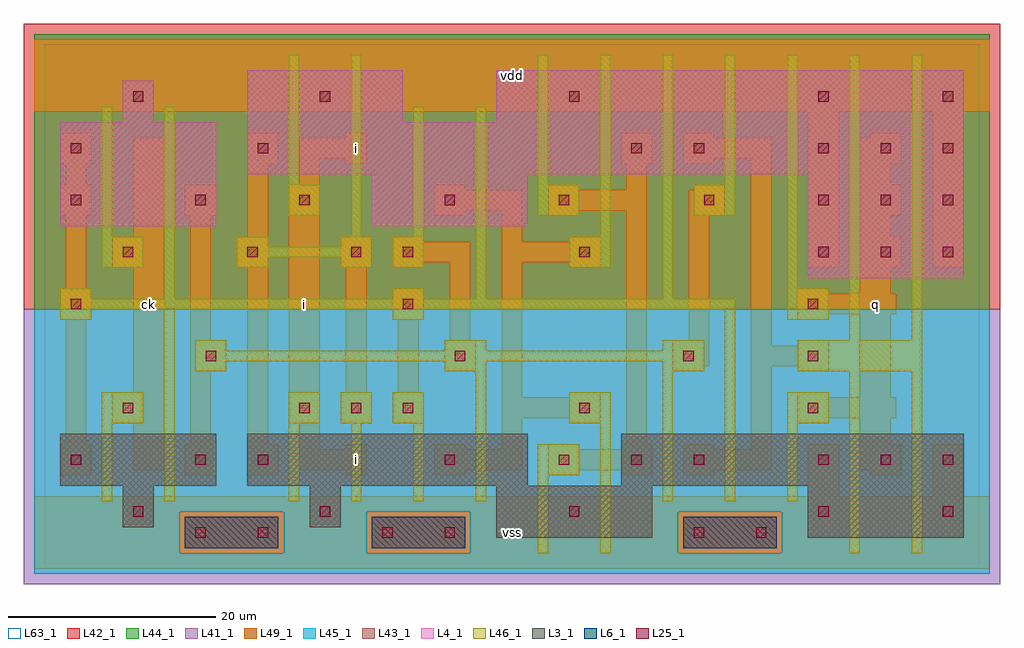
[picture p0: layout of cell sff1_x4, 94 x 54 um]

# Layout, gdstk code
import gdstk
lib = gdstk.Library(unit=1e-6, precision=1e-09)
def R(c, l, rs):  # rectangles x0, y0, x1, y1
    for r in rs: c.add(gdstk.rectangle(r[:2], r[2:], *l))
def A(c, l, x, y, w, h, nx, ny, dx, dy):  # array of equal rectangles
    R(c, l, [(x+i*dx, y+j*dy, x+i*dx+w, y+j*dy+h) for i in range(nx) for j in range(ny)])
L3_1 = (3, 1)
L4_1 = (4, 1)
L6_1 = (6, 1)
L25_1 = (25, 1)
L41_1 = (41, 1)
L42_1 = (42, 1)
L43_1 = (43, 1)
L44_1 = (44, 1)
L45_1 = (45, 1)
L46_1 = (46, 1)
L49_1 = (49, 1)
L63_1 = (63, 1)

sff1_x4 = lib.new_cell('sff1_x4')
R(sff1_x4, L3_1, [(43.5,2.5,58.5,7.5), (73.5,2.5,88.5,7.5), (7.5,3.5,10.5,7.5), (25.5,3.5,28.5,7.5), (1.5,7.5,16.5,12.5), (19.5,7.5,46.5,12.5), (55.5,7.5,88.5,12.5)])
R(sff1_x4, L4_1, [(73.5,27.5,88.5,37.5), (1.5,32.5,16.5,42.5), (31.5,32.5,46.5,37.5), (19.5,37.5,88.5,42.5), (7.5,42.5,10.5,46.5), (19.5,42.5,34.5,47.5), (43.5,42.5,88.5,47.5)])
R(sff1_x4, L6_1, [(13.5,1.5,22.5,4.5), (31.5,1.5,40.5,4.5), (61.5,1.5,70.5,4.5)])
A(sff1_x4, L25_1, 26.5, 4.5, 1, 1, 3, 2, 24, 40)
A(sff1_x4, L25_1, 74.5, 9.5, 1, 1, 3, 2, 6, 20)
A(sff1_x4, L25_1, 24.5, 14.5, 1, 1, 3, 1, 5, 0)
A(sff1_x4, L25_1, 73.5, 14.5, 1, 1, 1, 3, 0, 5)
A(sff1_x4, L25_1, 74.5, 34.5, 1, 1, 3, 2, 6, 5)
R(sff1_x4, L25_1, [(14.5,2.5,15.5,3.5), (20.5,2.5,21.5,3.5), (32.5,2.5,33.5,3.5), (38.5,2.5,39.5,3.5), (62.5,2.5,63.5,3.5), (68.5,2.5,69.5,3.5), (8.5,4.5,9.5,5.5), (86.5,4.5,87.5,5.5), (2.5,9.5,3.5,10.5), (14.5,9.5,15.5,10.5), (20.5,9.5,21.5,10.5), (38.5,9.5,39.5,10.5), (49.5,9.5,50.5,10.5), (56.5,9.5,57.5,10.5), (62.5,9.5,63.5,10.5), (7.5,14.5,8.5,15.5), (51.5,14.5,52.5,15.5), (15.5,19.5,16.5,20.5), (39.5,19.5,40.5,20.5), (61.5,19.5,62.5,20.5), (2.5,24.5,3.5,25.5), (34.5,24.5,35.5,25.5), (7.5,29.5,8.5,30.5), (19.5,29.5,20.5,30.5), (29.5,29.5,30.5,30.5), (34.5,29.5,35.5,30.5), (51.5,29.5,52.5,30.5), (2.5,34.5,3.5,35.5), (14.5,34.5,15.5,35.5), (24.5,34.5,25.5,35.5), (38.5,34.5,39.5,35.5), (49.5,34.5,50.5,35.5), (63.5,34.5,64.5,35.5), (2.5,39.5,3.5,40.5), (20.5,39.5,21.5,40.5), (56.5,39.5,57.5,40.5), (62.5,39.5,63.5,40.5), (8.5,44.5,9.5,45.5), (86.5,44.5,87.5,45.5)])
R(sff1_x4, L41_1, [(-2,-2,92,24.5)])
R(sff1_x4, L42_1, [(-2,24.5,92,52)])
R(sff1_x4, L43_1, [(13.5,1.5,22.5,4.5), (31.5,1.5,40.5,4.5), (61.5,1.5,70.5,4.5), (43.5,2.5,58.5,7.5), (73.5,2.5,88.5,7.5), (7.5,3.5,10.5,7.5), (25.5,3.5,28.5,7.5), (1.5,7.5,16.5,12.5), (19.5,7.5,46.5,12.5), (55.5,7.5,88.5,12.5), (73.5,27.5,88.5,37.5), (1.5,32.5,16.5,42.5), (31.5,32.5,46.5,37.5), (19.5,37.5,88.5,42.5), (7.5,42.5,10.5,46.5), (19.5,42.5,34.5,47.5), (43.5,42.5,88.5,47.5)])
R(sff1_x4, L44_1, [(13,1,23,5), (31,1,41,5), (61,1,71,5), (-1,24.5,91,51)])
R(sff1_x4, L45_1, [(-1,-1,91,1), (-1,1,13,5), (23,1,31,5), (41,1,61,5), (71,1,91,5), (-1,5,91,24.5)])
A(sff1_x4, L46_1, 23.5, 6, 1, 7.5, 3, 1, 6, 0)
A(sff1_x4, L46_1, 23.5, 13.5, 3, 3, 3, 1, 5, 0)
R(sff1_x4, L46_1, [(47.5,1,48.5,8.5), (53.5,1,54.5,13.5), (77.5,1,78.5,18.5), (83.5,1,84.5,18.5), (5.5,6,6.5,13.5), (11.5,6,12.5,24.5), (41.5,6,42.5,18.5), (59.5,6,60.5,18.5), (65.5,6,66.5,24.5), (71.5,6,72.5,13.5), (47.5,8.5,51.5,11.5), (5.5,13.5,9.5,16.5), (50.5,13.5,54.5,16.5), (71.5,13.5,75.5,16.5), (14.5,18.5,17.5,19.5), (38.5,18.5,42.5,19.5), (59.5,18.5,63.5,19.5), (72.5,18.5,84.5,21.5), (14.5,19.5,63.5,20.5), (14.5,20.5,17.5,21.5), (38.5,20.5,42.5,21.5), (59.5,20.5,63.5,21.5), (77.5,21.5,78.5,49), (83.5,21.5,84.5,49), (1.5,23.5,4.5,24.5), (33.5,23.5,36.5,24.5), (71.5,23.5,75.5,26.5), (1.5,24.5,66.5,25.5), (1.5,25.5,4.5,26.5), (11.5,25.5,12.5,44), (33.5,25.5,36.5,26.5), (41.5,25.5,42.5,44), (59.5,25.5,60.5,49), (71.5,26.5,72.5,49), (5.5,28.5,9.5,31.5), (18.5,28.5,21.5,29.5), (28.5,28.5,31.5,29.5), (33.5,28.5,36.5,31.5), (50.5,28.5,54.5,31.5), (18.5,29.5,31.5,30.5), (18.5,30.5,21.5,31.5), (28.5,30.5,31.5,31.5), (5.5,31.5,6.5,44), (29.5,31.5,30.5,49), (35.5,31.5,36.5,44), (53.5,31.5,54.5,49), (23.5,33.5,26.5,36.5), (47.5,33.5,51.5,36.5), (62.5,33.5,66.5,36.5), (23.5,36.5,24.5,49), (47.5,36.5,48.5,49), (65.5,36.5,66.5,49)])
A(sff1_x4, L49_1, 72.5, 13.5, 3, 0.5, 1, 6, 0, 2.5)
R(sff1_x4, L49_1, [(-1,-0.5,91,6.5), (73.5,6.5,76.5,11.5), (85.5,6.5,88.5,11.5), (1.5,8.5,4.5,11.5), (13.5,8.5,16.5,11.5), (19.5,8.5,22.5,11.5), (29,8.5,31,9), (37.5,8.5,40.5,9), (48.5,8.5,51.5,9), (55.5,8.5,58.5,9), (61.5,8.5,64.5,9), (79.5,8.5,82.5,9), (8.5,9,11.5,13.5), (24.5,9,31,11), (37.5,9,46,11), (48.5,9,58.5,11), (61.5,9,70,11), (78.5,9,82.5,11.5), (24.5,11,26.5,13.5), (29,11,31,11.5), (37.5,11,40.5,11.5), (44,11,46,14), (48.5,11,51.5,11.5), (55.5,11,58.5,11.5), (61.5,11,64.5,11.5), (68,11,70,19), (2,11.5,4,23.5), (14,11.5,16,18.5), (19.5,11.5,21.5,28.5), (56,11.5,58,34), (78.5,11.5,81.5,14), (6.5,13.5,11.5,16.5), (23.5,13.5,26.5,36.5), (28.5,13.5,31.5,16.5), (33.5,13.5,36.5,16.5), (50.5,13.5,53.5,14), (44,14,53.5,16), (72.5,14,82,16), (44,16,46,29), (50.5,16,53.5,16.5), (78.5,16,81.5,24), (8.5,16.5,11.5,28.5), (29,16.5,31,28.5), (34,16.5,36,23.5), (14,18.5,17.5,21.5), (38.5,18.5,41.5,21.5), (60.5,18.5,63.5,19), (60.5,19,64,21.5), (68,19,75.5,21), (68,21,70,39), (14,21.5,16,33.5), (39,21.5,41,29), (62,21.5,64,33.5), (1.5,23.5,4.5,26.5), (33.5,23.5,36.5,26.5), (72.5,24,82,26), (78.5,26,81.5,28.5), (2,26.5,4,33.5), (6.5,28.5,11.5,31.5), (18.5,28.5,21.5,31.5), (28.5,28.5,31.5,31.5), (33.5,28.5,36.5,29), (50.5,28.5,53.5,29), (73.5,28.5,76.5,43.5), (78.5,28.5,82.5,31.5), (85.5,28.5,88.5,43.5), (33.5,29,41,31), (44,29,53.5,31), (33.5,31,36.5,31.5), (44,31,46,34), (50.5,31,53.5,31.5), (8.5,31.5,11.5,41), (19.5,31.5,21.5,38.5), (78.5,31.5,81.5,33.5), (1.5,33.5,4.5,36.5), (13.5,33.5,16.5,36.5), (37.5,33.5,40.5,34), (48.5,33.5,51.5,34), (62,33.5,65.5,36), (78.5,33.5,82.5,36.5), (37.5,34,46,36), (48.5,34,58,36), (37.5,36,40.5,36.5), (48.5,36,51.5,36.5), (56,36,58,38.5), (62.5,36,65.5,36.5), (2,36.5,4,38.5), (24.5,36.5,26.5,39), (78.5,36.5,81.5,38.5), (1.5,38.5,4.5,41.5), (19.5,38.5,22.5,41.5), (29,38.5,31,39), (55.5,38.5,58.5,41.5), (61.5,38.5,64.5,39), (78.5,38.5,82.5,41), (24.5,39,31,41), (61.5,39,70,41), (29,41,31,41.5), (61.5,41,64.5,41.5), (79.5,41,82.5,41.5), (-1,43.5,91,50.5)])
R(sff1_x4, L63_1, [(0,0,90,50)])
sff1_x4.add(gdstk.Label('ck', (10,25), layer=49, texttype=1))
sff1_x4.add(gdstk.Label('ck', (10,25), layer=49, texttype=1))
sff1_x4.add(gdstk.Label('i', (30,10), layer=49, texttype=1))
sff1_x4.add(gdstk.Label('i', (30,10), layer=49, texttype=1))
sff1_x4.add(gdstk.Label('i', (25,25), layer=49, texttype=1))
sff1_x4.add(gdstk.Label('i', (25,25), layer=49, texttype=1))
sff1_x4.add(gdstk.Label('i', (30,40), layer=49, texttype=1))
sff1_x4.add(gdstk.Label('i', (30,40), layer=49, texttype=1))
sff1_x4.add(gdstk.Label('vss', (45,3), layer=49, texttype=1))
sff1_x4.add(gdstk.Label('vss', (45,3), layer=49, texttype=1))
sff1_x4.add(gdstk.Label('vdd', (45,47), layer=49, texttype=1))
sff1_x4.add(gdstk.Label('vdd', (45,47), layer=49, texttype=1))
sff1_x4.add(gdstk.Label('q', (80,25), layer=49, texttype=1))
sff1_x4.add(gdstk.Label('q', (80,25), layer=49, texttype=1))

lib.write_gds('sff1_x4.gds')
